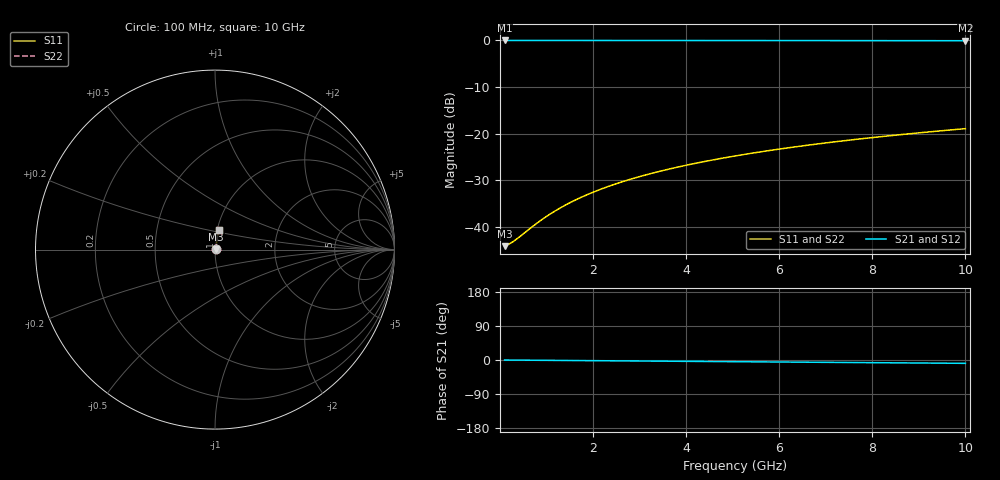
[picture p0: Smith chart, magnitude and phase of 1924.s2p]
# Hz S RI R 50.00
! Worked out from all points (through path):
!   100 points, 100 MHz to 10 GHz, reference 50 ohm
!   highest |S21| = -0.05 dB at 100 MHz (marker M1); lowest = -0.1 dB at 10 GHz (marker M2)
!   group delay of S21, straight-line fit = 2.44 ps
!   lowest |S11| = -44.1 dB at 100 MHz (marker M3), VSWR 1.01, Z = 50.6 + j0.114 ohm
!   |S11| at or under -10 dB: start of sweep to end of sweep
!   |S22| runs from -44.1 to -18.9 dB; largest |S21 - S12| = 0
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1e8  0.00615 0.00113  0.9939 -0.00153  0.9939 -0.00153  0.00615 0.00113
2e8  0.00619 0.00225  0.9938 -0.00306  0.9938 -0.00306  0.00619 0.00225
3e8  0.00623 0.00338  0.9938 -0.00459  0.9938 -0.00459  0.00623 0.00338
8e8  0.00642 0.00901  0.9936 -0.0122  0.9936 -0.0122  0.00642 0.00901
9e8  0.00646 0.0101  0.9935 -0.0138  0.9935 -0.0138  0.00646 0.0101
1.1e9  0.00655 0.0124  0.9934 -0.0168  0.9934 -0.0168  0.00655 0.0124
1.4e9  0.00672 0.0158  0.9933 -0.0214  0.9933 -0.0214  0.00672 0.0158
1.6e9  0.00684 0.018  0.9931 -0.0245  0.9931 -0.0245  0.00684 0.018
1.8e9  0.00697 0.0203  0.993 -0.0275  0.993 -0.0275  0.00697 0.0203
2.1e9  0.0072 0.0236  0.9928 -0.0321  0.9928 -0.0321  0.0072 0.0236
2.5e9  0.00755 0.0281  0.9924 -0.0382  0.9924 -0.0382  0.00755 0.0281
2.9e9  0.00795 0.0326  0.992 -0.0443  0.992 -0.0443  0.00795 0.0326
3.4e9  0.00852 0.0382  0.9914 -0.0519  0.9914 -0.0519  0.00852 0.0382
3.8e9  0.00904 0.0427  0.9908 -0.058  0.9908 -0.058  0.00904 0.0427
4.2e9  0.00962 0.0471  0.9902 -0.0641  0.9902 -0.0641  0.00962 0.0471
4.6e9  0.0102 0.0516  0.9896 -0.0701  0.9896 -0.0701  0.0102 0.0516
5.1e9  0.0111 0.0572  0.9887 -0.0777  0.9887 -0.0777  0.0111 0.0572
5.9e9  0.0127 0.066  0.987 -0.0898  0.987 -0.0898  0.0127 0.066
6.7e9  0.0144 0.0748  0.9852 -0.1018  0.9852 -0.1018  0.0144 0.0748
7.5e9  0.0164 0.0836  0.9831 -0.1138  0.9831 -0.1138  0.0164 0.0836
8.4e9  0.0189 0.0933  0.9805 -0.1272  0.9805 -0.1272  0.0189 0.0933
1e10  0.024 0.1105  0.9752 -0.1509  0.9752 -0.1509  0.024 0.1105
